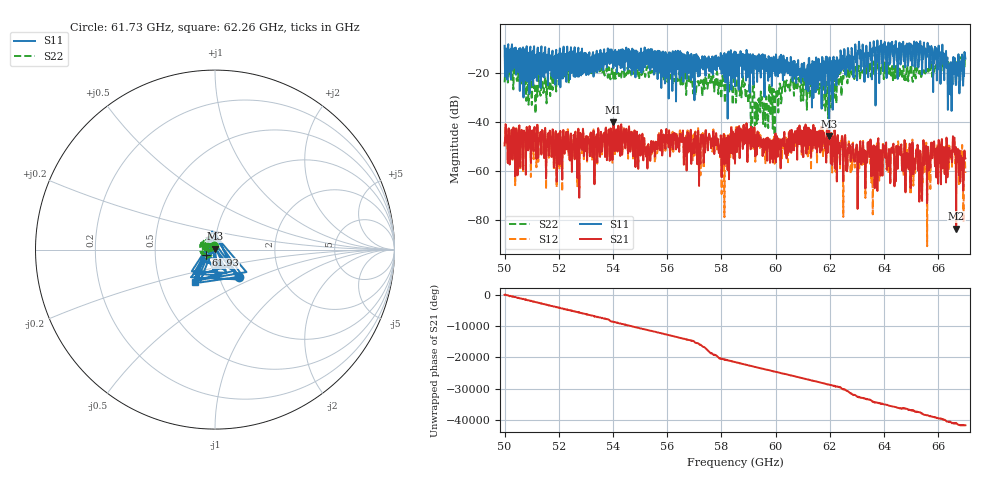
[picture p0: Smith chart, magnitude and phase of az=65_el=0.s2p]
!Created with skrf (http://scikit-rf.org).
# GHz S RI R 50.0
!freq ReS11 ImS11 ReS21 ImS21 ReS12 ImS12 ReS22 ImS22
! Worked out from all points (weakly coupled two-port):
!   1001 points, 50 GHz to 67 GHz, reference 50 ohm
!   highest |S21| = -40.18 dB at 54.01 GHz (marker M1); lowest = -83.4 dB at 66.66 GHz (marker M2)
!   lowest |S11| = -45.7 dB at 61.97 GHz (marker M3), VSWR 1.01, Z = 50.1 + j0.506 ohm
!   |S11| at or under -10 dB: 52.72 GHz to 54.49 GHz (1.767 GHz wide, 3.3 % of centre); 55.17 GHz to 62.66 GHz (7.496 GHz wide, 12.7 % of centre); 66.16 GHz to end of sweep (the widest 3 of 57)
!   |S22| runs from -49.5 to -13.4 dB; largest |S21 - S12| = 0.0021
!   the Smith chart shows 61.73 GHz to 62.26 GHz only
!   S11 on the Smith chart (normalised r, x): 61.73 GHz: 1.25, -0.39; 61.93 GHz: 0.91, -0.05; 62.26 GHz: 0.76, -0.28
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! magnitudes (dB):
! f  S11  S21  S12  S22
! 50 GHz  -9.0  -49.6  -49.0  -23.8
! 51.07 GHz  -10.8  -52.0  -55.2  -26.2
! 52.84 GHz  -12.8  -45.1  -45.2  -19.8
! 54.01 GHz  -18.1  -40.2  -40.3  -23.2
! 55.68 GHz  -13.7  -45.1  -45.1  -21.2
! 57.5 GHz  -17.7  -51.6  -51.6  -25.3
! 58.02 GHz  -12.9  -47.1  -46.6  -22.2
! 58.5 GHz  -25.4  -56.7  -57.6  -24.0
! 59.64 GHz  -18.7  -49.3  -47.6  -31.2
! 60.34 GHz  -14.6  -50.5  -48.1  -24.9
! 61.34 GHz  -34.1  -43.4  -43.9  -26.6
! 61.73 GHz  -13.8  -43.7  -43.1  -33.5
! 61.93 GHz  -24.9  -47.8  -49.0  -38.5
! 61.97 GHz  -45.7  -47.4  -47.6  -22.8
! 62.26 GHz  -13.6  -64.3  -63.3  -25.0
! 64.18 GHz  -11.9  -51.0  -51.8  -17.3
! 65.2 GHz  -7.4  -53.5  -53.4  -18.5
! 65.35 GHz  -9.8  -53.4  -53.5  -20.1
! 65.81 GHz  -27.8  -50.9  -53.1  -16.9
! 66.44 GHz  -28.7  -54.0  -55.0  -16.1
! 66.66 GHz  -24.9  -83.4  -54.8  -16.6
! 67 GHz  -14.2  -54.9  -60.8  -14.3
